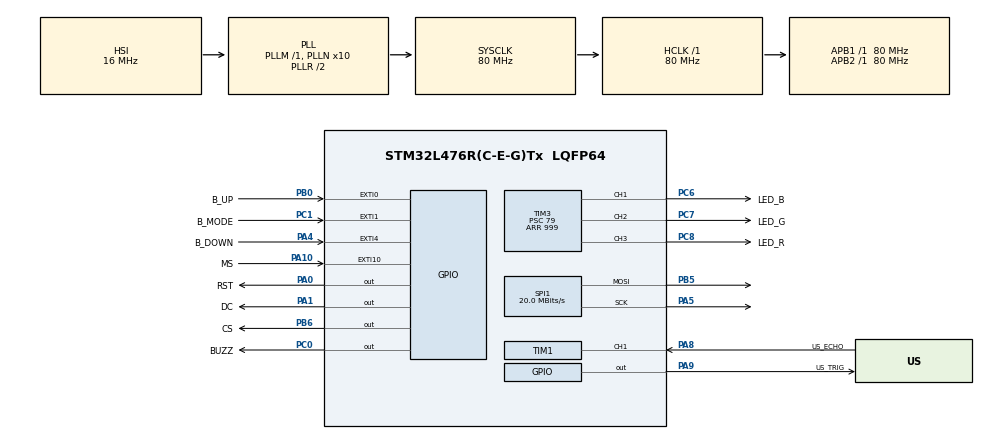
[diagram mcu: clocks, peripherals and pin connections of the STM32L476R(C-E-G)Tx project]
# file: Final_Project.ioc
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Mcu.Family=STM32L4
Mcu.Name=STM32L476R(C-E-G)Tx
Mcu.Package=LQFP64
NVIC.EXTI0_IRQn=true\:0\:0\:false\:false\:true\:true\:true\:true
NVIC.EXTI15_10_IRQn=true\:0\:0\:false\:false\:true\:true\:true\:true
NVIC.EXTI1_IRQn=true\:0\:0\:false\:false\:true\:true\:true\:true
NVIC.EXTI4_IRQn=true\:0\:0\:false\:false\:true\:true\:true\:true
NVIC.PriorityGroup=NVIC_PRIORITYGROUP_4
NVIC.TIM1_CC_IRQn=true\:0\:0\:false\:false\:true\:true\:true\:true
NVIC.TIM2_IRQn=true\:0\:0\:false\:false\:true\:true\:true\:true
NVIC.TIM3_IRQn=true\:0\:0\:false\:false\:true\:true\:true\:true
NVIC.TIM4_IRQn=true\:0\:0\:false\:false\:true\:true\:true\:true
PA0.GPIO_Label=RST
PA0.GPIO_PuPd=GPIO_NOPULL
PA0.Signal=GPIO_Output
PA1.GPIO_Label=DC
PA1.Signal=GPIO_Output
PA10.GPIO_Label=MS
PA10.Signal=GPXTI10
PA13\ (JTMS-SWDIO).GPIO_Label=TMS
PA13\ (JTMS-SWDIO).Mode=Serial_Wire
PA13\ (JTMS-SWDIO).Signal=SYS_JTMS-SWDIO
PA14\ (JTCK-SWCLK).GPIO_Label=TCK
PA14\ (JTCK-SWCLK).Mode=Serial_Wire
PA14\ (JTCK-SWCLK).Signal=SYS_JTCK-SWCLK
PA4.GPIO_Label=B_DOWN
PA4.GPIO_ModeDefaultEXTI=GPIO_MODE_IT_FALLING
PA4.GPIO_PuPd=GPIO_PULLUP
PA4.Signal=GPXTI4
PA5.Mode=TX_Only_Simplex_Unidirect_Master
PA5.Signal=SPI1_SCK
PA8.GPIO_Label=US_ECHO
PA8.Signal=S_TIM1_CH1
PA9.GPIO_Label=US_TRIG
PA9.Signal=GPIO_Output
PB0.GPIO_Label=B_UP
PB0.GPIO_ModeDefaultEXTI=GPIO_MODE_IT_FALLING
PB0.GPIO_PuPd=GPIO_PULLUP
PB0.Signal=GPXTI0
PB3\ (JTDO-TRACESWO).GPIO_Label=SWO
PB3\ (JTDO-TRACESWO).Signal=SYS_JTDO-SWO
PB5.Mode=TX_Only_Simplex_Unidirect_Master
PB5.Signal=SPI1_MOSI
PB6.GPIO_Label=CS
PB6.Signal=GPIO_Output
PC0.GPIO_Label=BUZZ
PC0.Signal=GPIO_Output
PC1.GPIO_Label=B_MODE
PC1.GPIO_ModeDefaultEXTI=GPIO_MODE_IT_FALLING
PC1.GPIO_PuPd=GPIO_PULLUP
PC1.Signal=GPXTI1
PC14-OSC32_IN\ (PC14).Mode=LSE-External-Oscillator
PC14-OSC32_IN\ (PC14).Signal=RCC_OSC32_IN
PC15-OSC32_OUT\ (PC15).Mode=LSE-External-Oscillator
PC15-OSC32_OUT\ (PC15).Signal=RCC_OSC32_OUT
PC6.GPIO_Label=LED_B
PC6.Signal=S_TIM3_CH1
PC7.GPIO_Label=LED_G
PC7.Signal=S_TIM3_CH2
PC8.GPIO_Label=LED_R
PC8.Signal=S_TIM3_CH3
PH0-OSC_IN\ (PH0).Signal=RCC_OSC_IN
PH1-OSC_OUT\ (PH1).Signal=RCC_OSC_OUT
ProjectManager.HeapSize=0x200
ProjectManager.StackSize=0x400
ProjectManager.TargetToolchain=STM32CubeIDE
RCC.ADCFreq_Value=64000000
RCC.AHBFreq_Value=80000000
RCC.APB1Freq_Value=80000000
RCC.APB1TimFreq_Value=80000000
RCC.APB2Freq_Value=80000000
RCC.APB2TimFreq_Value=80000000
RCC.CortexFreq_Value=80000000
RCC.HCLKFreq_Value=80000000
RCC.HSE_VALUE=8000000
RCC.HSI_VALUE=16000000
RCC.MSI_VALUE=4000000
RCC.PLLN=10
RCC.PLLSourceVirtual=RCC_PLLSOURCE_HSI
RCC.PREFETCH_ENABLE=1
RCC.SYSCLKFreq_VALUE=80000000
RCC.SYSCLKSource=RCC_SYSCLKSOURCE_PLLCLK
RCC.USBFreq_Value=64000000
RCC.VCOOutputFreq_Value=160000000
SH.S_TIM1_CH1.0=TIM1_CH1,Input_Capture1_from_TI1
SH.S_TIM3_CH1.0=TIM3_CH1,PWM Generation1 CH1
SH.S_TIM3_CH2.0=TIM3_CH2,PWM Generation2 CH2
SH.S_TIM3_CH3.0=TIM3_CH3,PWM Generation3 CH3
SPI1.BaudRatePrescaler=SPI_BAUDRATEPRESCALER_4
SPI1.CalculateBaudRate=20.0 MBits/s
SPI1.DataSize=SPI_DATASIZE_8BIT
SPI1.Direction=SPI_DIRECTION_2LINES
SPI1.Mode=SPI_MODE_MASTER
SPI1.VirtualType=VM_MASTER
TIM1.Channel-Input_Capture1_from_TI1=TIM_CHANNEL_1
TIM1.Period=65534
TIM1.Prescaler=79
TIM2.AutoReloadPreload=TIM_AUTORELOAD_PRELOAD_ENABLE
TIM2.Period=999
TIM2.Prescaler=7999
TIM3.AutoReloadPreload=TIM_AUTORELOAD_PRELOAD_ENABLE
TIM3.Channel-PWM\ Generation1\ CH1=TIM_CHANNEL_1
TIM3.Channel-PWM\ Generation2\ CH2=TIM_CHANNEL_2
TIM3.Channel-PWM\ Generation3\ CH3=TIM_CHANNEL_3
TIM3.Period=999
TIM3.Prescaler=79
TIM4.AutoReloadPreload=TIM_AUTORELOAD_PRELOAD_ENABLE
TIM4.Period=9999
TIM4.Prescaler=7999
VP_TIM1_VS_ClockSourceINT.Mode=Internal
VP_TIM2_VS_ClockSourceINT.Mode=Internal
VP_TIM3_VS_ClockSourceINT.Mode=Internal
VP_TIM4_VS_ClockSourceINT.Mode=Internal
board=NUCLEO-L476RG

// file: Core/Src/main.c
/* USER CODE BEGIN Header */
/**
 ******************************************************************************
 * @file           : main.c
 * @brief          : Main program body
 ******************************************************************************
 * @attention
 *
 * Copyright (c) 2025 STMicroelectronics.
 * All rights reserved.
 *
 * This software is licensed under terms that can be found in the LICENSE file
 * in the root directory of this software component.
 * If no LICENSE file comes with this software, it is provided AS-IS.
 *
 ******************************************************************************
 */
/* USER CODE END Header */
#include "main.h"

/* USER CODE BEGIN Includes */
#include <math.h>
#include "font.h"

/* USER CODE END Includes */

SPI_HandleTypeDef hspi1;

TIM_HandleTypeDef htim1;
TIM_HandleTypeDef htim2;
TIM_HandleTypeDef htim3;
TIM_HandleTypeDef htim4;

/* USER CODE BEGIN PV */

volatile uint32_t ic_rising = 0;
volatile uint32_t ic_falling = 0;
volatile uint8_t ic_flag = 0;
volatile uint8_t ic_state = 0; // 0 = waiting for rising, 1 = waiting for falling

volatile float distance_cm = 0.0f;

volatile UltrasonicState us_state = US_IDLE;
volatile uint32_t us_timeout_start = 0;

volatile LEDState led_state = LED_IDLE;
volatile float led_duty_cycle = 0.2f;  // Current duty cycle
uint32_t PWM_PERIOD = 999;  // Cache this value

volatile uint32_t last_motion_time = 0;

volatile uint8_t working = 0;	// 0 = not working, 1 = working
volatile uint8_t taking_break = 0;// 0 = not taking a break, 1 = taking a break

uint8_t edit_period = 0;// Make changes to timer durations 1 = working, 2 = break

// Default timer periods in minutes
uint32_t working_period = 20;
uint32_t break_period = 5;

// Current timer period in seconds
uint32_t current_period = 1200;

uint16_t cursor_x = 0; // start at left
uint16_t cursor_y = 0; // start at top

// Display framebuffer - 128x160 pixels at 16-bit color (RGB565)
uint16_t framebuffer[NUMROWS][NUMCOLS];

/* USER CODE END PV */

void SystemClock_Config(void);
static void MX_GPIO_Init(void);
static void MX_SPI1_Init(void);
static void MX_TIM3_Init(void);
static void MX_TIM1_Init(void);
static void MX_TIM2_Init(void);
static void MX_TIM4_Init(void);
/* USER CODE BEGIN PFP */

// Display Prototypes
void ST7735_WriteData(uint8_t data[], uint16_t size);
void ST7735_WriteCommand(uint8_t cmd);

void ST7735_Init(void);

void ST7735_SetAddressWindow(uint16_t xStart, uint16_t yStart, uint16_t xEnd,
		uint16_t yEnd);

void ST7735_DrawPixel(uint8_t x, uint8_t y, uint16_t color);

void ST7735_DrawScreen(uint16_t frame[NUMROWS][NUMCOLS]);

void ST7735_UpdateCharCursor(uint16_t x, uint16_t y);
void ST7735_PrintChar(char character);
void ST7735_PrintString(char *string);

void RenderCountdownDisplay(uint16_t minutes, uint16_t seconds, float progress);

/* USER CODE END PFP */

int main(void) {

	/* MCU Configuration--------------------------------------------------------*/

	/* Reset of all peripherals, Initializes the Flash interface and the Systick. */
	HAL_Init();

	/* Configure the system clock */
	SystemClock_Config();

	/* Initialize all configured peripherals */
	MX_GPIO_Init();
	MX_SPI1_Init();
	MX_TIM3_Init();
	MX_TIM1_Init();
	MX_TIM2_Init();
	MX_TIM4_Init();
	/* USER CODE BEGIN 2 */

	CoreDebug->DEMCR |= CoreDebug_DEMCR_TRCENA_Msk;
	DWT->CYCCNT = 0;
	DWT->CTRL |= DWT_CTRL_CYCCNTENA_Msk;

	HAL_TIM_IC_Start_IT(&htim1, TIM_CHANNEL_1);	// Start Timer 1

	HAL_TIM_PWM_Start(&htim3, TIM_CHANNEL_1);// start PWM on Timer3’s Channel 1
	HAL_TIM_PWM_Start(&htim3, TIM_CHANNEL_2);// start PWM on Timer3’s Channel 2
	HAL_TIM_PWM_Start(&htim3, TIM_CHANNEL_3);// start PWM on Timer3’s Channel 3

	HAL_TIM_Base_Start_IT(&htim2);	// Start Timer 2 with interrupts
	HAL_TIM_Base_Start_IT(&htim3);	// Start Timer 3 with interrupts
	HAL_TIM_Base_Start_IT(&htim4);	// Start Timer 4 with interrupts

	ST7735_Init();

	/* USER CODE END 2 */

	/* Infinite loop */
	/* USER CODE BEGIN WHILE */
	while (1) {

		if (edit_period == 0) {
			RenderCountdownDisplay(((int) (current_period / 60)),
					(current_period % 60),
					current_period
							/ (taking_break ?
									(float) (break_period * 60) :
									(float) (working_period * 60)));

		} else if (edit_period == 1) {
			RenderCountdownDisplay(working_period, 0, 1);
		} else {
			RenderCountdownDisplay(break_period, 0, 1);
		}

		HAL_Delay(1);

		/* USER CODE END WHILE */

	}
}

void SystemClock_Config(void) {
	RCC_OscInitTypeDef RCC_OscInitStruct = { 0 };
	RCC_ClkInitTypeDef RCC_ClkInitStruct = { 0 };

	/** Configure the main internal regulator output voltage
	 */
	if (HAL_PWREx_ControlVoltageScaling(PWR_REGULATOR_VOLTAGE_SCALE1)
			!= HAL_OK) {
		Error_Handler();
	}

	/** Initializes the RCC Oscillators according to the specified parameters
	 * in the RCC_OscInitTypeDef structure.
	 */
	RCC_OscInitStruct.OscillatorType = RCC_OSCILLATORTYPE_HSI;
	RCC_OscInitStruct.HSIState = RCC_HSI_ON;
	RCC_OscInitStruct.HSICalibrationValue = RCC_HSICALIBRATION_DEFAULT;
	RCC_OscInitStruct.PLL.PLLState = RCC_PLL_ON;
	RCC_OscInitStruct.PLL.PLLSource = RCC_PLLSOURCE_HSI;
	RCC_OscInitStruct.PLL.PLLM = 1;
	RCC_OscInitStruct.PLL.PLLN = 10;
	RCC_OscInitStruct.PLL.PLLP = RCC_PLLP_DIV7;
	RCC_OscInitStruct.PLL.PLLQ = RCC_PLLQ_DIV2;
	RCC_OscInitStruct.PLL.PLLR = RCC_PLLR_DIV2;
	if (HAL_RCC_OscConfig(&RCC_OscInitStruct) != HAL_OK) {
		Error_Handler();
	}

	/** Initializes the CPU, AHB and APB buses clocks
	 */
	RCC_ClkInitStruct.ClockType = RCC_CLOCKTYPE_HCLK | RCC_CLOCKTYPE_SYSCLK
			| RCC_CLOCKTYPE_PCLK1 | RCC_CLOCKTYPE_PCLK2;
	RCC_ClkInitStruct.SYSCLKSource = RCC_SYSCLKSOURCE_PLLCLK;
	RCC_ClkInitStruct.AHBCLKDivider = RCC_SYSCLK_DIV1;
	RCC_ClkInitStruct.APB1CLKDivider = RCC_HCLK_DIV1;
	RCC_ClkInitStruct.APB2CLKDivider = RCC_HCLK_DIV1;

	if (HAL_RCC_ClockConfig(&RCC_ClkInitStruct, FLASH_LATENCY_4) != HAL_OK) {
		Error_Handler();
	}
}

static void MX_SPI1_Init(void) {

	/* SPI1 parameter configuration*/
	hspi1.Instance = SPI1;
	hspi1.Init.Mode = SPI_MODE_MASTER;
	hspi1.Init.Direction = SPI_DIRECTION_2LINES;
	hspi1.Init.DataSize = SPI_DATASIZE_8BIT;
	hspi1.Init.CLKPolarity = SPI_POLARITY_LOW;
	hspi1.Init.CLKPhase = SPI_PHASE_1EDGE;
	hspi1.Init.NSS = SPI_NSS_SOFT;
	hspi1.Init.BaudRatePrescaler = SPI_BAUDRATEPRESCALER_4;
	hspi1.Init.FirstBit = SPI_FIRSTBIT_MSB;
	hspi1.Init.TIMode = SPI_TIMODE_DISABLE;
	hspi1.Init.CRCCalculation = SPI_CRCCALCULATION_DISABLE;
	hspi1.Init.CRCPolynomial = 7;
	hspi1.Init.CRCLength = SPI_CRC_LENGTH_DATASIZE;
	hspi1.Init.NSSPMode = SPI_NSS_PULSE_ENABLE;
	if (HAL_SPI_Init(&hspi1) != HAL_OK) {
		Error_Handler();
	}

}

static void MX_TIM1_Init(void) {

	TIM_ClockConfigTypeDef sClockSourceConfig = { 0 };
	TIM_MasterConfigTypeDef sMasterConfig = { 0 };
	TIM_IC_InitTypeDef sConfigIC = { 0 };

	htim1.Instance = TIM1;
	htim1.Init.Prescaler = 79;
	htim1.Init.CounterMode = TIM_COUNTERMODE_UP;
	htim1.Init.Period = 65534;
	htim1.Init.ClockDivision = TIM_CLOCKDIVISION_DIV1;
	htim1.Init.RepetitionCounter = 0;
	htim1.Init.AutoReloadPreload = TIM_AUTORELOAD_PRELOAD_DISABLE;
	if (HAL_TIM_Base_Init(&htim1) != HAL_OK) {
		Error_Handler();
	}
	sClockSourceConfig.ClockSource = TIM_CLOCKSOURCE_INTERNAL;
	if (HAL_TIM_ConfigClockSource(&htim1, &sClockSourceConfig) != HAL_OK) {
		Error_Handler();
	}
	if (HAL_TIM_IC_Init(&htim1) != HAL_OK) {
		Error_Handler();
	}
	sMasterConfig.MasterOutputTrigger = TIM_TRGO_RESET;
	sMasterConfig.MasterOutputTrigger2 = TIM_TRGO2_RESET;
	sMasterConfig.MasterSlaveMode = TIM_MASTERSLAVEMODE_DISABLE;
	if (HAL_TIMEx_MasterConfigSynchronization(&htim1, &sMasterConfig)
			!= HAL_OK) {
		Error_Handler();
	}
	sConfigIC.ICPolarity = TIM_INPUTCHANNELPOLARITY_RISING;
	sConfigIC.ICSelection = TIM_ICSELECTION_DIRECTTI;
	sConfigIC.ICPrescaler = TIM_ICPSC_DIV1;
	sConfigIC.ICFilter = 0;
	if (HAL_TIM_IC_ConfigChannel(&htim1, &sConfigIC, TIM_CHANNEL_1) != HAL_OK) {
		Error_Handler();
	}

}

static void MX_TIM2_Init(void) {

	TIM_ClockConfigTypeDef sClockSourceConfig = { 0 };
	TIM_MasterConfigTypeDef sMasterConfig = { 0 };

	htim2.Instance = TIM2;
	htim2.Init.Prescaler = 7999;
	htim2.Init.CounterMode = TIM_COUNTERMODE_UP;
	htim2.Init.Period = 999;
	htim2.Init.ClockDivision = TIM_CLOCKDIVISION_DIV1;
	htim2.Init.AutoReloadPreload = TIM_AUTORELOAD_PRELOAD_ENABLE;
	if (HAL_TIM_Base_Init(&htim2) != HAL_OK) {
		Error_Handler();
	}
	sClockSourceConfig.ClockSource = TIM_CLOCKSOURCE_INTERNAL;
	if (HAL_TIM_ConfigClockSource(&htim2, &sClockSourceConfig) != HAL_OK) {
		Error_Handler();
	}
	sMasterConfig.MasterOutputTrigger = TIM_TRGO_RESET;
	sMasterConfig.MasterSlaveMode = TIM_MASTERSLAVEMODE_DISABLE;
	if (HAL_TIMEx_MasterConfigSynchronization(&htim2, &sMasterConfig)
			!= HAL_OK) {
		Error_Handler();
	}

}

static void MX_TIM3_Init(void) {

	TIM_ClockConfigTypeDef sClockSourceConfig = { 0 };
	TIM_MasterConfigTypeDef sMasterConfig = { 0 };
	TIM_OC_InitTypeDef sConfigOC = { 0 };

	htim3.Instance = TIM3;
	htim3.Init.Prescaler = 79;
	htim3.Init.CounterMode = TIM_COUNTERMODE_UP;
	htim3.Init.Period = 999;
	htim3.Init.ClockDivision = TIM_CLOCKDIVISION_DIV1;
	htim3.Init.AutoReloadPreload = TIM_AUTORELOAD_PRELOAD_ENABLE;
	if (HAL_TIM_Base_Init(&htim3) != HAL_OK) {
		Error_Handler();
	}
	sClockSourceConfig.ClockSource = TIM_CLOCKSOURCE_INTERNAL;
	if (HAL_TIM_ConfigClockSource(&htim3, &sClockSourceConfig) != HAL_OK) {
		Error_Handler();
	}
	if (HAL_TIM_PWM_Init(&htim3) != HAL_OK) {
		Error_Handler();
	}
	sMasterConfig.MasterOutputTrigger = TIM_TRGO_RESET;
	sMasterConfig.MasterSlaveMode = TIM_MASTERSLAVEMODE_DISABLE;
	if (HAL_TIMEx_MasterConfigSynchronization(&htim3, &sMasterConfig)
			!= HAL_OK) {
		Error_Handler();
	}
	sConfigOC.OCMode = TIM_OCMODE_PWM1;
	sConfigOC.Pulse = 0;
	sConfigOC.OCPolarity = TIM_OCPOLARITY_HIGH;
	sConfigOC.OCFastMode = TIM_OCFAST_DISABLE;
	if (HAL_TIM_PWM_ConfigChannel(&htim3, &sConfigOC, TIM_CHANNEL_1)
			!= HAL_OK) {
		Error_Handler();
	}
	if (HAL_TIM_PWM_ConfigChannel(&htim3, &sConfigOC, TIM_CHANNEL_2)
			!= HAL_OK) {
		Error_Handler();
	}
	if (HAL_TIM_PWM_ConfigChannel(&htim3, &sConfigOC, TIM_CHANNEL_3)
			!= HAL_OK) {
		Error_Handler();
	}
	HAL_TIM_MspPostInit(&htim3);

}

static void MX_TIM4_Init(void) {

	TIM_ClockConfigTypeDef sClockSourceConfig = { 0 };
	TIM_MasterConfigTypeDef sMasterConfig = { 0 };

	htim4.Instance = TIM4;
	htim4.Init.Prescaler = 7999;
	htim4.Init.CounterMode = TIM_COUNTERMODE_UP;
	htim4.Init.Period = 9999;
	htim4.Init.ClockDivision = TIM_CLOCKDIVISION_DIV1;
	htim4.Init.AutoReloadPreload = TIM_AUTORELOAD_PRELOAD_ENABLE;
	if (HAL_TIM_Base_Init(&htim4) != HAL_OK) {
		Error_Handler();
	}
	sClockSourceConfig.ClockSource = TIM_CLOCKSOURCE_INTERNAL;
	if (HAL_TIM_ConfigClockSource(&htim4, &sClockSourceConfig) != HAL_OK) {
		Error_Handler();
	}
	sMasterConfig.MasterOutputTrigger = TIM_TRGO_RESET;
	sMasterConfig.MasterSlaveMode = TIM_MASTERSLAVEMODE_DISABLE;
	if (HAL_TIMEx_MasterConfigSynchronization(&htim4, &sMasterConfig)
			!= HAL_OK) {
		Error_Handler();
	}

}

static void MX_GPIO_Init(void) {
	GPIO_InitTypeDef GPIO_InitStruct = { 0 };

	/* GPIO Ports Clock Enable */
	__HAL_RCC_GPIOC_CLK_ENABLE();
	__HAL_RCC_GPIOH_CLK_ENABLE();
	__HAL_RCC_GPIOA_CLK_ENABLE();
	__HAL_RCC_GPIOB_CLK_ENABLE();

	/*Configure GPIO pin Output Level */
	HAL_GPIO_WritePin(BUZZ_GPIO_Port, BUZZ_Pin, GPIO_PIN_RESET);

	/*Configure GPIO pin Output Level */
	HAL_GPIO_WritePin(GPIOA, RST_Pin | DC_Pin | US_TRIG_Pin, GPIO_PIN_RESET);

	/*Configure GPIO pin Output Level */
	HAL_GPIO_WritePin(CS_GPIO_Port, CS_Pin, GPIO_PIN_RESET);

	/*Configure GPIO pin : BUZZ_Pin */
	GPIO_InitStruct.Pin = BUZZ_Pin;
	GPIO_InitStruct.Mode = GPIO_MODE_OUTPUT_PP;
	GPIO_InitStruct.Pull = GPIO_NOPULL;
	GPIO_InitStruct.Speed = GPIO_SPEED_FREQ_LOW;
	HAL_GPIO_Init(BUZZ_GPIO_Port, &GPIO_InitStruct);

	/*Configure GPIO pin : B_MODE_Pin */
	GPIO_InitStruct.Pin = B_MODE_Pin;
	GPIO_InitStruct.Mode = GPIO_MODE_IT_FALLING;
	GPIO_InitStruct.Pull = GPIO_PULLUP;
	HAL_GPIO_Init(B_MODE_GPIO_Port, &GPIO_InitStruct);

	/*Configure GPIO pins : RST_Pin DC_Pin US_TRIG_Pin */
	GPIO_InitStruct.Pin = RST_Pin | DC_Pin | US_TRIG_Pin;
	GPIO_InitStruct.Mode = GPIO_MODE_OUTPUT_PP;
	GPIO_InitStruct.Pull = GPIO_NOPULL;
	GPIO_InitStruct.Speed = GPIO_SPEED_FREQ_LOW;
	HAL_GPIO_Init(GPIOA, &GPIO_InitStruct);

	/*Configure GPIO pin : B_DOWN_Pin */
	GPIO_InitStruct.Pin = B_DOWN_Pin;
	GPIO_InitStruct.Mode = GPIO_MODE_IT_FALLING;
	GPIO_InitStruct.Pull = GPIO_PULLUP;
	HAL_GPIO_Init(B_DOWN_GPIO_Port, &GPIO_InitStruct);

	/*Configure GPIO pin : B_UP_Pin */
	GPIO_InitStruct.Pin = B_UP_Pin;
	GPIO_InitStruct.Mode = GPIO_MODE_IT_FALLING;
	GPIO_InitStruct.Pull = GPIO_PULLUP;
	HAL_GPIO_Init(B_UP_GPIO_Port, &GPIO_InitStruct);

	/*Configure GPIO pin : MS_Pin */
	GPIO_InitStruct.Pin = MS_Pin;
	GPIO_InitStruct.Mode = GPIO_MODE_IT_RISING;
	GPIO_InitStruct.Pull = GPIO_NOPULL;
	HAL_GPIO_Init(MS_GPIO_Port, &GPIO_InitStruct);

	/*Configure GPIO pin : CS_Pin */
	GPIO_InitStruct.Pin = CS_Pin;
	GPIO_InitStruct.Mode = GPIO_MODE_OUTPUT_PP;
	GPIO_InitStruct.Pull = GPIO_NOPULL;
	GPIO_InitStruct.Speed = GPIO_SPEED_FREQ_LOW;
	HAL_GPIO_Init(CS_GPIO_Port, &GPIO_InitStruct);

	/* EXTI interrupt init*/
	HAL_NVIC_SetPriority(EXTI0_IRQn, 0, 0);
	HAL_NVIC_EnableIRQ(EXTI0_IRQn);

	HAL_NVIC_SetPriority(EXTI1_IRQn, 0, 0);
	HAL_NVIC_EnableIRQ(EXTI1_IRQn);

	HAL_NVIC_SetPriority(EXTI4_IRQn, 0, 0);
	HAL_NVIC_EnableIRQ(EXTI4_IRQn);

	HAL_NVIC_SetPriority(EXTI15_10_IRQn, 0, 0);
	HAL_NVIC_EnableIRQ(EXTI15_10_IRQn);

}

/* USER CODE BEGIN 4 */

/**
 * @brief Transmits the provided bytes as data to the ST7735 over SPI1
 * @param data: the array of data / pointer to where the data starts
 * @param size: the number of bytes of data to transit
 * @retval None
 */
void Delay_us(uint32_t us) {
	uint32_t start = DWT->CYCCNT;
	uint32_t cycles = us * (SystemCoreClock / 1000000);

	while ((DWT->CYCCNT - start) < cycles) {
		// busy wait
	}
}

float median_filter(float new_value) {
	static float buffer[3] = { 0 };  // Store last 3 readings
	static uint8_t index = 0;

	// Add new value to buffer
	buffer[index] = new_value;
	index = (index + 1) % 3;

	// Copy buffer for sorting (don't modify original)
	float sorted[3];
	for (int i = 0; i < 3; i++) {
		sorted[i] = buffer[i];
	}

	// Simple bubble sort
	for (int i = 0; i < 2; i++) {
		for (int j = 0; j < 2 - i; j++) {
			if (sorted[j] > sorted[j + 1]) {
				float temp = sorted[j];
				sorted[j] = sorted[j + 1];
				sorted[j + 1] = temp;
			}
		}
	}

	// Return median
	return sorted[1];
}

/**
 * @brief Clears the entire framebuffer to a single color
 */
void FB_Clear(uint16_t color) {
	for (int y = 0; y < NUMROWS; y++) {
		for (int x = 0; x < NUMCOLS; x++) {
			framebuffer[y][x] = color;
		}
	}
}

/**
 * @brief Draws a pixel into the framebuffer with bounds checking
 */
void FB_DrawPixel(int x, int y, uint16_t color) {
	if (x < 0 || x >= NUMCOLS || y < 0 || y >= NUMROWS) {
		return;
	}
	framebuffer[y][x] = color;
}

/**
 * @brief Draws a countdown arc showing progress (optimized)
 */
void FB_DrawCountdownArc(int cx, int cy, int radius, int thickness,
		float progress, uint16_t color) {
	if (progress < 0.0f)
		progress = 0.0f;
	if (progress > 1.0f)
		progress = 1.0f;

	// Pre-calculate squared distances to avoid sqrt()
	int inner_radius = radius - thickness;
	int inner_sq = inner_radius * inner_radius;
	int outer_sq = radius * radius;

	// Draw arc by checking each pixel
	for (int y = cy - radius - thickness; y <= cy + radius + thickness; y++) {
		for (int x = cx - radius - thickness; x <= cx + radius + thickness;
				x++) {
			int dx = x - cx;
			int dy = y - cy;
			int dist_sq = dx * dx + dy * dy;

			// Check if pixel is within the ring (no sqrt needed!)
			if (dist_sq >= inner_sq && dist_sq <= outer_sq) {
				// Calculate angle (-π to π)
				float angle = atan2f(dy, dx);
				// Normalize to 0-360 starting from top
				float angle_deg = (angle * 180.0f / 3.14159f) + 90.0f;
				if (angle_deg < 0)
					angle_deg += 360.0f;

				// Check if within progress arc
				if (angle_deg >= (1.0f - progress) * 360.0f) {
					FB_DrawPixel(x, y, color);
				}
			}
		}
	}
}

/**
 * @brief Draws a character into framebuffer
 */
void FB_DrawChar(int x, int y, char character, uint16_t fg_color,
		uint16_t bg_color) {
	if (character < ' ' || character > '~')
		return;

	int fontIndex = character - 0x20;
	const uint8_t *characterData = fontTable[fontIndex];

	for (int row = 0; row < 8; row++) {
		uint8_t rowData = characterData[row];
		for (int col = 7; col >= 0; col--) {
			int px = x + (7 - col);
			int py = y + row;

			if ((rowData & (1 << col)) != 0) {
				FB_DrawPixel(px, py, fg_color);
			} else if (bg_color != 0xFFFF) {
				FB_DrawPixel(px, py, bg_color);
			}
		}
	}
}

/**
 * @brief Draws centered string
 */
void FB_DrawStringCentered(int cx, int cy, char *text, uint16_t fg_color,
		uint16_t bg_color) {
	int len = 0;
	while (text[len] != '\0')
		len++;

	int total_width = len * 8;
	int start_x = cx - (total_width / 2);
	int start_y = cy - 4;

	for (int i = 0; i < len; i++) {
		FB_DrawChar(start_x + (i * 8), start_y, text[i], fg_color, bg_color);
	}
}

/**
 * @brief Complete countdown display
 */
void RenderCountdownDisplay(uint16_t minutes, uint16_t seconds, float progress) {
	const int cx = 64;  // Center X
	const int cy = 80;  // Center Y
	const int radius = 50;
	const int thickness = 8;

	uint16_t ring_color;

	if (edit_period == 0) {
		ring_color =
				taking_break ?
						(((PURPLE) >> 8) & 0x00FF)
								| (((PURPLE) & 0x00FF) << 8) :
						(((YELLOW) >> 8) & 0x00FF) | (((YELLOW) & 0x00FF) << 8); // Purple or Yellow

	} else if (edit_period == 1) {
		ring_color = (((YELLOW) >> 8) & 0x00FF) | (((YELLOW) & 0x00FF) << 8);
	} else {
		ring_color = (((PURPLE) >> 8) & 0x00FF) | (((PURPLE) & 0x00FF) << 8);
	}

	// Clear framebuffer
	FB_Clear(BLACK);

	// Draw countdown arc
	FB_DrawCountdownArc(cx, cy, radius, thickness, progress, ring_color);

	// Format time
	char time_str[6];
	time_str[0] = (minutes / 10) + '0';
	time_str[1] = (minutes % 10) + '0';
	time_str[2] = ':';
	time_str[3] = (seconds / 10) + '0';
	time_str[4] = (seconds % 10) + '0';
	time_str[5] = '\0';

	// Draw text
	FB_DrawStringCentered(cx, cy, time_str, WHITE, 0xFFFF);

	if (edit_period == 0) {
		FB_DrawStringCentered(cx, cy + 12, taking_break ? "BREAK" : "WORK",
		WHITE, 0xFFFF);

	} else if (edit_period == 1) {
		FB_DrawStringCentered(cx, cy + 12, "WORK", WHITE, 0xFFFF);
	} else {
		FB_DrawStringCentered(cx, cy + 12, "BREAK", WHITE, 0xFFFF);
	}

	// Push to display using DrawScreen()
	ST7735_DrawScreen(framebuffer);
}

void ST7735_WriteData(uint8_t data[], uint16_t size) {
// Change the DC (Data/Command) pin to "Data" mode
	HAL_GPIO_WritePin(DC_GPIO_Port, DC_Pin, GPIO_PIN_SET);

// Send the data
	HAL_GPIO_WritePin(CS_GPIO_Port, CS_Pin, GPIO_PIN_RESET); // select the device
	HAL_SPI_Transmit(&hspi1, data, size, HAL_MAX_DELAY); // transmit bytes
	HAL_GPIO_WritePin(CS_GPIO_Port, CS_Pin, GPIO_PIN_SET); // deselect the device
}

/**
 * @brief Transmits the provided byte as a command to the ST7735 over SPI1
 * @param cmd: the 1-byte command to transmit
 * @retval None
 */
void ST7735_WriteCommand(uint8_t cmd) {
// Change DC (Data/Command) pin to "Command" mode
	HAL_GPIO_WritePin(DC_GPIO_Port, DC_Pin, GPIO_PIN_RESET);
// Send the command
	HAL_GPIO_WritePin(CS_GPIO_Port, CS_Pin, GPIO_PIN_RESET); // select the device
	HAL_SPI_Transmit(&hspi1, &cmd, 1, HAL_MAX_DELAY); // transmit byte
	HAL_GPIO_WritePin(CS_GPIO_Port, CS_Pin, GPIO_PIN_SET); // deselect the device
}

/**
 * @brief Initializes the ST7735 over SPI1 with startup commands
 * @param None
 * @retval None
 */
void ST7735_Init(void) {
// Perform a hardware reset (reset low pulse)
	HAL_GPIO_WritePin(RST_GPIO_Port, RST_Pin, GPIO_PIN_RESET); // RST pin low
	HAL_Delay(5); // wait 5ms
	HAL_GPIO_WritePin(RST_GPIO_Port, RST_Pin, GPIO_PIN_SET); // RST pin high
	HAL_Delay(5); // wait 5ms
// Perform a software reset
	ST7735_WriteCommand(SWRESET); // send a SWRESET (Software reset) command
	HAL_Delay(150);
// Wake the display (exit low-power sleep mode)
	ST7735_WriteCommand(SLPOUT); // Send a SLPOUT (Sleep out) command
	HAL_Delay(150);
// Enter "Interface Pixel Format" mode and set to 16-bit color
	ST7735_WriteCommand(COLMOD); // Send a COLMOD (Color Mode) command
	uint8_t colorMode = 0x05; // color mode = 16-bit/pixel
	ST7735_WriteData(&colorMode, 1); // send color mode value as a data message
// Enter "Memory Data Access Control" mode and set to row/column order
	ST7735_WriteCommand(MADCTL); // Send a MADCTL (Memory Access Data Control) command
	uint8_t accessMode = 0xC8; // access mode = row/column order
	ST7735_WriteData(&accessMode, 1); // send access mode value as a data message
// Turn on display
	ST7735_WriteCommand(DISPON); // send a DISPON (Display On) command
	HAL_Delay(10);
}

/**
 * @brief Updates a specified pixel to a specified color
 * @param x: the x address of the pixel
 * @param y: the y address of the pixel
 * @param color: two-byte color value (bbbbb gggggg rrrrr)
 * @retval None
 */
void ST7735_DrawPixel(uint8_t x, uint8_t y, uint16_t color) {
// Early exit if (x,y) is out of bounds
	if ((x >= NUMCOLS) || (y >= NUMROWS))
		return;
// Single pixel, so start and stop on the same (x,y) pixel
	ST7735_SetAddressWindow(x, y, x, y);
// Organize the color as a two-byte value
	uint8_t pixelData[2] = { color >> 8, color & 0xFF }; // swap for Big Endian
// Send the data
	ST7735_WriteData(pixelData, 2);
}

/**
 * @brief Specifies the address window where the next pixel data will go
 * @param xStart: the starting x address
 * @param yStart: the starting y address
 * @param xEnd: the ending x address
 * @param yEnd: the ending y address
 * @retval None
 */
void ST7735_SetAddressWindow(uint16_t xStart, uint16_t yStart, uint16_t xEnd,
		uint16_t yEnd) {
// Early exit if any dimensions are out of bounds
	if ((xStart > xEnd) || (yStart > yEnd) || (xEnd >= NUMCOLS)
			|| (yEnd >= NUMROWS))
		return;
// Data array for configuration data
	uint8_t address[4];
// Set column start/end
	ST7735_WriteCommand(0x2A); // Enter "Column address set" mode
	address[0] = xStart >> 8; // upper 8 bits of x starting address
	address[1] = xStart & 0xFF; // lower 8 bits of x starting address
	address[2] = xEnd >> 8; // upper 8 bits of x ending address
	address[3] = xEnd & 0xFF; // lower 8 bits of x ending address
	ST7735_WriteData(address, 4); // Transmit the 4 bytes of parameter data
// Set row start/end
	ST7735_WriteCommand(0x2B); // Enter "Row address set" mode
	address[0] = yStart >> 8; // upper 8 bits of y starting address
	address[1] = yStart & 0xFF; // lower 8 bits of y starting address
	address[2] = yEnd >> 8; // upper 8 bits of y ending address
	address[3] = yEnd & 0xFF; // lower 8 bits of y ending address
	ST7735_WriteData(address, 4); // Transmit the 4 bytes of parameter data
// Get ready to send pixel data
	ST7735_WriteCommand(0x2C); // Enter "RAM Write" mode (pixel writing mode)
}

/**
 * @brief Redraws the entire ST7735 display with provided frame
 * @param frame: the 2-dimensional array of 16-bit pixel colors
 * @retval None
 */
void ST7735_DrawScreen(uint16_t frame[NUMROWS][NUMCOLS]) {
	// Select entire display
	ST7735_SetAddressWindow(0, 0, NUMCOLS - 1, NUMROWS - 1);
	// Transmit entire frame to display
	ST7735_WriteData((uint8_t*) frame, NUMROWS * NUMCOLS * 2);
}

/**
 * @brief Updated the character cursor
 * @param x: the desired x coordinate (0 to 127)
 * @param y: the desired y coordinate (0 to 159)
 * @retval 0: success, 1: failure
 */
void ST7735_UpdateCharCursor(uint16_t x, uint16_t y) {
// Update
	cursor_x = x;
	cursor_y = y;
// Perform any necessary wrap-around
	if (cursor_x > (NUMCOLS - 8)) { // cursor goes off the right
		cursor_x = 0; // wrap back to left
		cursor_y += 8; // move cursor down one row
	}
	if (cursor_y > (NUMROWS - 9)) { // cursor goes off the bottom
		cursor_x = 0;
		cursor_y = 0; // wrap back to top
	}
}

/**
 * @brief Draws an 8x8 character to the ST7735 (black on white) using the cursor
 * @param character: the ASCII value of the character to print (' ' through '~')
 * @retval None
 */
void ST7735_PrintChar(char character) {
	// Early exit if character is not supported
	if ((character < ' ') || (character > '~'))
		return;
	// Realign ASCII character to start of font table
	int fontIndex = character - 0x20; // 0x20 is where printable characters begin in ASCII
	// Get character data from font table
	const uint8_t *characterData = fontTable[fontIndex];
	// Set address window for 8x8 character
	ST7735_SetAddressWindow(cursor_x, cursor_y, cursor_x + 7, cursor_y + 7);
	// Process each row of the character, one at a time
	for (int row = 0; row < 8; row++) {
		// Get the data for the current row from the character array
		uint8_t rowData = characterData[row];
		// Process each pixel in the row (left to right, msb to lsb)
		for (int col = 7; col >= 0; col--) {
			// See if that pixel is black (1) or white (0)
			uint16_t color;
			if ((rowData & (1 << col)) == 0) { // bitmask one bit at a time
				color = WHITE;
			} else {
				color = BLACK;
			}
			// Transmit pixel data
			uint8_t pixelData[2] = { color >> 8, color & 0xFF }; // swap for Big Endian
			ST7735_WriteData(pixelData, 2); // send the data
		}
	}
	// Move cursor to next character window
	ST7735_UpdateCharCursor(cursor_x + 8, cursor_y);
}

/**
 * @brief Draws the characters (A-Z) from string to display
 * @param x: the x coordinate of the top-left corner (0 to NUMCOLS-8)
 * @param y: the y coordinate of the top-left corner (0 to NUMROWS-8)
 * @param string: the character array
 * @retval None
 */
void ST7735_PrintString(char *string) {
	// Print each character, one at a time
	for (int i = 0; string[i] != '\0'; i++) {
		ST7735_PrintChar(string[i]);
	}
}

void HAL_TIM_PeriodElapsedCallback(TIM_HandleTypeDef *htim) {
	if (htim->Instance == TIM2) {
		// TIM2 fires every 100ms for ultrasonic measurements

		switch (us_state) {
		case US_IDLE:
			// Start new measurement
			ic_flag = 0;
			ic_state = 0;

			// Ensure we're ready for rising edge
			__HAL_TIM_SET_CAPTUREPOLARITY(&htim1, TIM_CHANNEL_1,
					TIM_INPUTCHANNELPOLARITY_RISING);

			// Send 10 µs trigger pulse
			HAL_GPIO_WritePin(US_TRIG_GPIO_Port, US_TRIG_Pin, GPIO_PIN_SET);
			Delay_us(10);
			HAL_GPIO_WritePin(US_TRIG_GPIO_Port, US_TRIG_Pin, GPIO_PIN_RESET);

			us_state = US_WAITING_FOR_ECHO;
			us_timeout_start = HAL_GetTick();
			break;

		case US_WAITING_FOR_ECHO:
			// Check if measurement completed
			if (ic_flag) {
				ic_flag = 0;

				uint32_t width;
				if (ic_falling >= ic_rising)
					width = ic_falling - ic_rising;
				else
					width = (htim1.Init.Period - ic_rising) + ic_falling;

				// Check the width of the pulse for a reasonable range
				if (width > US_MIN_WIDTH && width < US_MAX_WIDTH) {
					float raw_distance = width * US_DISTANCE_CALC; // Calculate the distance of the measurement
					distance_cm = median_filter(raw_distance);
				} else {
					distance_cm = -1.0f;  // Out of range
				}

				us_state = US_IDLE;
			}
			// Check for timeout (100ms)
			else if ((HAL_GetTick() - us_timeout_start) > 100) {
				distance_cm = -2.0f;  // Timeout
				us_state = US_IDLE;
			}
			break;

		default:
			us_state = US_IDLE;
			break;
		}

		uint32_t time_since_motion = HAL_GetTick() - last_motion_time;

		if ((distance_cm > 0) && (distance_cm < PRESENCE_DISTANCE_CM)
				&& (time_since_motion < MOTION_TIMEOUT_MS)
				&& (edit_period == 0)) {
			working = 1;  // Person is present
		} else if ((time_since_motion > MOTION_TIMEOUT_MS)
				&& (taking_break == 0)) {
			working = 0;  // No person detected or timeout
			if ((current_period / 60) < MIN_WORK_RESUME_TIME) {	// Reset to full work period if less than 5 minutes left
				current_period = working_period * 60;// Working period in seconds
			}
		}
	}

	// If person is present, the system starts
	// TIM3: LED breathing effect (fires every 1ms with PWM period)
	if (htim->Instance == TIM3) {

		if (working) {
			// Breathing effect when person is present
			if (led_state == LED_IDLE) {
				led_state = LED_BREATHING_UP;
			}

			if (led_state == LED_BREATHING_UP) {
				led_duty_cycle += 0.0016f;  // Increment
				if (led_duty_cycle >= LED_MAX_DUTY) { // Tolerance to account for floating point rounding errors
					led_duty_cycle = 1.0f;
					led_state = LED_BREATHING_DOWN;
				}
			}

			if (led_state == LED_BREATHING_DOWN) {
				led_duty_cycle -= 0.0016f;  // Decrement
				if (led_duty_cycle <= LED_MIN_DUTY) { // Tolerance to account for floating point rounding errors
					led_duty_cycle = 0.2f;
					led_state = LED_BREATHING_UP;
				}
			}

			// Update PWM based on duty cycle
			int resetValue = (int) (led_duty_cycle * PWM_PERIOD);
			TIM3->CCR3 = resetValue;  // Red

			if (taking_break) {  // Purple
				TIM3->CCR2 = 0;
				TIM3->CCR1 = resetValue;
			} else {  // Amber
				TIM3->CCR2 = (int) (resetValue * 0.25f);
				TIM3->CCR1 = 0;
			}

		} else {
			// Solid colors when !working
			led_state = LED_IDLE;
			led_duty_cycle = 0.2f;  // Reset

			if (edit_period == 1) {	// Edit working_period duration
				// Solid amber
				TIM3->CCR3 = 1000;
				TIM3->CCR2 = 250;
				TIM3->CCR1 = 0;
			} else if (edit_period == 2) {	// Edit break_period duration
				// Solid purple
				TIM3->CCR3 = 1000;
				TIM3->CCR2 = 0;
				TIM3->CCR1 = 1000;
			} else {	// System idle
				// Dim red
				TIM3->CCR1 = 0;
				TIM3->CCR2 = 0;
				TIM3->CCR3 = 200;
			}

		}

	}

	// TIM4: Pomodoro countdown (every 1 second)
	if (htim->Instance == TIM4) {
		HAL_GPIO_WritePin(BUZZ_GPIO_Port, BUZZ_Pin, GPIO_PIN_RESET);// Turn off buzzer
		// Only countdown when person is present
		if (working) {
			if (current_period > 0) {
				current_period--;  // Decrement 1 second
				// Did we just hit zero?
				if (current_period == 0) {
					// Timer expired! Switch between work and break
					if (taking_break) {
						// Break finished → Start work
						taking_break = 0;
						current_period = working_period * 60;
					} else {
						// Work finished → Start break
						taking_break = 1;
						current_period = break_period * 60;
					}

					// Beep once when switching periods
					HAL_GPIO_WritePin(BUZZ_GPIO_Port, BUZZ_Pin, GPIO_PIN_SET);
				}
			}
		}
		// else: paused → keep current_period frozen, buzzer already off
	}

}

void HAL_TIM_IC_CaptureCallback(TIM_HandleTypeDef *htim) {

	// Find pulse width of the Ultrasonic Distance Sensor
	if (htim->Instance == TIM1) {
		if (htim->Channel == HAL_TIM_ACTIVE_CHANNEL_1) {
			if (ic_state == 0) {
				// RISING edge (start of echo pulse)
				ic_rising = HAL_TIM_ReadCapturedValue(htim, TIM_CHANNEL_1);

				// Switch to capture FALLING edge next
				__HAL_TIM_SET_CAPTUREPOLARITY(htim, TIM_CHANNEL_1,
						TIM_INPUTCHANNELPOLARITY_FALLING);
				ic_state = 1;
			} else {
				// FALLING edge (end of echo pulse)
				ic_falling = HAL_TIM_ReadCapturedValue(htim, TIM_CHANNEL_1);

				// Switch back to capture RISING edge for next measurement
				__HAL_TIM_SET_CAPTUREPOLARITY(htim, TIM_CHANNEL_1,
						TIM_INPUTCHANNELPOLARITY_RISING);
				ic_state = 0;

				// Set flag indicating measurement is complete
				ic_flag = 1;
			}
		}
	}
}

void HAL_GPIO_EXTI_Callback(uint16_t GPIO_Pin) {
	if (GPIO_Pin == MS_Pin) {
		last_motion_time = HAL_GetTick();
	}

	// Register button presses for debouncing
	static uint32_t last_press = 0;
	uint32_t now = HAL_GetTick();

	if (GPIO_Pin == B_MODE_Pin) {

		if (now - last_press < 250)
			return;  // 250ms debounce
		last_press = now;

		if (edit_period < 2) {
			edit_period += 1;
			working = 0;
		} else {
			edit_period = 0;

			// Restore correct period based on current state
			current_period =
					taking_break ? (break_period * 60) : (working_period * 60);
		}

	}

	if (GPIO_Pin == B_UP_Pin) {

		if (now - last_press < 250)
			return;  // 250ms debounce
		last_press = now;

		switch (edit_period) {
		case 1:	// Increase work duration
			working_period += 1;
			break;
		case 2:	// Increase break duration
			break_period += 1;
			break;
		case 0:	// No action
			break;
		}

	}

	if (GPIO_Pin == B_DOWN_Pin) {

		if (now - last_press < 250)
			return;  // 250ms debounce
		last_press = now;

		switch (edit_period) {
		case 1:	// Decrease work duration if working_period > 0
			if (working_period > 1) {
				working_period -= 1;
			}
			break;
		case 2:	// Decrease break duration  if break_period > 0
			if (break_period > 1) {
				break_period -= 1;
			}
			break;
		case 0:	// No action
			break;
		}

	}
}

/* USER CODE END 4 */

void Error_Handler(void) {
	__disable_irq();
	while (1) {
	}
}
